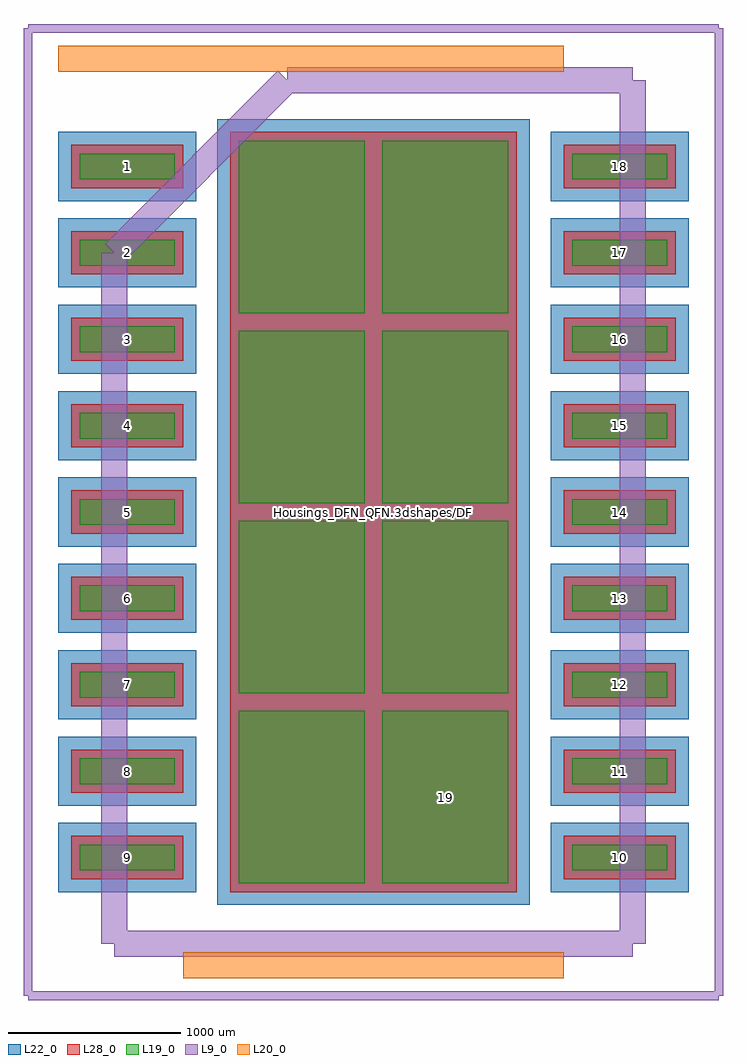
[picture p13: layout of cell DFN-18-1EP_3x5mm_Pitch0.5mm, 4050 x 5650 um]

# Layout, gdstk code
import gdstk
lib = gdstk.Library(unit=1e-6, precision=1e-09)
def R(c, l, rs):  # rectangles x0, y0, x1, y1
    for r in rs: c.add(gdstk.rectangle(r[:2], r[2:], *l))
def A(c, l, x, y, w, h, nx, ny, dx, dy):  # array of equal rectangles
    R(c, l, [(x+i*dx, y+j*dy, x+i*dx+w, y+j*dy+h) for i in range(nx) for j in range(ny)])
L9_0 = (9, 0)
L19_0 = (19, 0)
L20_0 = (20, 0)
L22_0 = (22, 0)
L28_0 = (28, 0)

dfn_18_1ep_3x5mm_pitch0_ = lib.new_cell('DFN-18-1EP_3x5mm_Pitch0.5mm')
A(dfn_18_1ep_3x5mm_pitch0_, L19_0, -780, -2150, 730, 1000, 1, 4, 0, 1100)
A(dfn_18_1ep_3x5mm_pitch0_, L19_0, 50, -2150, 730, 1000, 1, 4, 0, 1100)
A(dfn_18_1ep_3x5mm_pitch0_, L19_0, -1700, -2075, 550, 150, 1, 9, 0, 500)
A(dfn_18_1ep_3x5mm_pitch0_, L19_0, 1150, -2075, 550, 150, 1, 9, 0, 500)
A(dfn_18_1ep_3x5mm_pitch0_, L22_0, -905, -2275, 980, 1250, 1, 4, 0, 1100)
A(dfn_18_1ep_3x5mm_pitch0_, L22_0, -75, -2275, 980, 1250, 1, 4, 0, 1100)
A(dfn_18_1ep_3x5mm_pitch0_, L22_0, -1825, -2200, 800, 400, 1, 9, 0, 500)
A(dfn_18_1ep_3x5mm_pitch0_, L22_0, 1025, -2200, 800, 400, 1, 9, 0, 500)
A(dfn_18_1ep_3x5mm_pitch0_, L28_0, -830, -2200, 830, 1100, 1, 4, 0, 1100)
A(dfn_18_1ep_3x5mm_pitch0_, L28_0, 0, -2200, 830, 1100, 1, 4, 0, 1100)
A(dfn_18_1ep_3x5mm_pitch0_, L28_0, -1750, -2125, 650, 250, 1, 9, 0, 500)
A(dfn_18_1ep_3x5mm_pitch0_, L28_0, 1100, -2125, 650, 250, 1, 9, 0, 500)
dfn_18_1ep_3x5mm_pitch0_.add(gdstk.FlexPath([(-1825,2625),(1100,2625)], 149.998, ends="flush", simple_path=True, layer=20, datatype=0))  # L20_0
dfn_18_1ep_3x5mm_pitch0_.add(gdstk.FlexPath([(-1100,-2625),(1100,-2625)], 149.998, ends="flush", simple_path=True, layer=20, datatype=0))  # L20_0
dfn_18_1ep_3x5mm_pitch0_.add(gdstk.FlexPath([(-2000,-2800),(2000,-2800)], 50, ends="flush", simple_path=True, layer=9, datatype=0))  # L9_0
dfn_18_1ep_3x5mm_pitch0_.add(gdstk.FlexPath([(-2000,2800),(2000,2800)], 50, ends="flush", simple_path=True, layer=9, datatype=0))  # L9_0
dfn_18_1ep_3x5mm_pitch0_.add(gdstk.FlexPath([(2000,2800),(2000,-2800)], 50, ends="flush", simple_path=True, layer=9, datatype=0))  # L9_0
dfn_18_1ep_3x5mm_pitch0_.add(gdstk.FlexPath([(-2000,2800),(-2000,-2800)], 50, ends="flush", simple_path=True, layer=9, datatype=0))  # L9_0
dfn_18_1ep_3x5mm_pitch0_.add(gdstk.FlexPath([(-1500,1500),(-500,2500)], 149.998, ends="flush", simple_path=True, layer=9, datatype=0))  # L9_0
dfn_18_1ep_3x5mm_pitch0_.add(gdstk.FlexPath([(-1500,-2500),(-1500,1500)], 149.998, ends="flush", simple_path=True, layer=9, datatype=0))  # L9_0
dfn_18_1ep_3x5mm_pitch0_.add(gdstk.FlexPath([(1500,-2500),(-1500,-2500)], 149.998, ends="flush", simple_path=True, layer=9, datatype=0))  # L9_0
dfn_18_1ep_3x5mm_pitch0_.add(gdstk.FlexPath([(1500,2500),(1500,-2500)], 149.998, ends="flush", simple_path=True, layer=9, datatype=0))  # L9_0
dfn_18_1ep_3x5mm_pitch0_.add(gdstk.FlexPath([(-500,2500),(1500,2500)], 149.998, ends="flush", simple_path=True, layer=9, datatype=0))  # L9_0
dfn_18_1ep_3x5mm_pitch0_.add(gdstk.Label('Housings_DFN_QFN.3dshapes/DFN-18-1EP_3x5mm_Pitch0.5mm.wrl', (0,0), layer=12, texttype=0))
dfn_18_1ep_3x5mm_pitch0_.add(gdstk.Label('19', (415,-1650), layer=28, texttype=0))
dfn_18_1ep_3x5mm_pitch0_.add(gdstk.Label('18', (1425,2000), layer=28, texttype=0))
dfn_18_1ep_3x5mm_pitch0_.add(gdstk.Label('17', (1425,1500), layer=28, texttype=0))
dfn_18_1ep_3x5mm_pitch0_.add(gdstk.Label('16', (1425,1000), layer=28, texttype=0))
dfn_18_1ep_3x5mm_pitch0_.add(gdstk.Label('15', (1425,500), layer=28, texttype=0))
dfn_18_1ep_3x5mm_pitch0_.add(gdstk.Label('14', (1425,0), layer=28, texttype=0))
dfn_18_1ep_3x5mm_pitch0_.add(gdstk.Label('13', (1425,-500), layer=28, texttype=0))
dfn_18_1ep_3x5mm_pitch0_.add(gdstk.Label('12', (1425,-1000), layer=28, texttype=0))
dfn_18_1ep_3x5mm_pitch0_.add(gdstk.Label('11', (1425,-1500), layer=28, texttype=0))
dfn_18_1ep_3x5mm_pitch0_.add(gdstk.Label('10', (1425,-2000), layer=28, texttype=0))
dfn_18_1ep_3x5mm_pitch0_.add(gdstk.Label('9', (-1425,-2000), layer=28, texttype=0))
dfn_18_1ep_3x5mm_pitch0_.add(gdstk.Label('8', (-1425,-1500), layer=28, texttype=0))
dfn_18_1ep_3x5mm_pitch0_.add(gdstk.Label('7', (-1425,-1000), layer=28, texttype=0))
dfn_18_1ep_3x5mm_pitch0_.add(gdstk.Label('6', (-1425,-500), layer=28, texttype=0))
dfn_18_1ep_3x5mm_pitch0_.add(gdstk.Label('5', (-1425,0), layer=28, texttype=0))
dfn_18_1ep_3x5mm_pitch0_.add(gdstk.Label('4', (-1425,500), layer=28, texttype=0))
dfn_18_1ep_3x5mm_pitch0_.add(gdstk.Label('3', (-1425,1000), layer=28, texttype=0))
dfn_18_1ep_3x5mm_pitch0_.add(gdstk.Label('2', (-1425,1500), layer=28, texttype=0))
dfn_18_1ep_3x5mm_pitch0_.add(gdstk.Label('1', (-1425,2000), layer=28, texttype=0))
dfn_18_1ep_3x5mm_pitch0_.add(gdstk.Label('type', (0,-3550), layer=9, texttype=0))
dfn_18_1ep_3x5mm_pitch0_.add(gdstk.Label('devicename', (0,3550), layer=9, texttype=0))

lib.write_gds('DFN-18-1EP_3x5mm_Pitch0.5mm.gds')
